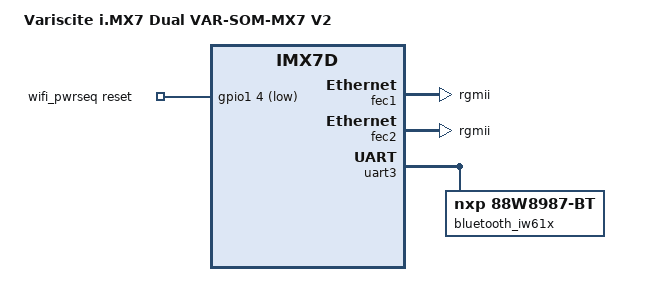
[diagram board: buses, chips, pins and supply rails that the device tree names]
// SPDX-License-Identifier: (GPL-2.0+ OR MIT)
/*
 * dtsi for Variscite VAR-SOM-MX7 V2
 *
 * Changelog link: https://dev.variscite.com/var-som-mx7/changelog/#var-som-mx7_v2-v20
 *
 * Copyright (C) 2026 Variscite Ltd. - https://www.variscite.com/
 *
 */

/ {
	model = "Variscite i.MX7 Dual VAR-SOM-MX7 V2";
	compatible = "variscite,var-som-imx7d-v2", "fsl,imx7d";

	wifi_pwrseq: wifi-pwrseq {
		compatible = "mmc-pwrseq-simple";
		post-power-on-delay-ms = <100>;
		power-off-delay-us = <10000>;
		reset-gpios = <&gpio1 4 GPIO_ACTIVE_LOW>;
	};
};

&fec1 {
	/*
	 * The required RGMII TX and RX 2ns delays are implemented directly
	 * in hardware via passive delay elements on the SOM PCB.
	 * No delay configuration is needed in software via PHY driver.
	 */
	phy-mode = "rgmii";
};

&fec2 {
	/*
	 * The required RGMII TX and RX 2ns delays are implemented directly
	 * in hardware via passive delay elements on the SOM PCB.
	 * No delay configuration is needed in software via PHY driver.
	 */
	phy-mode = "rgmii";
};

&pinctrl_wlan {
	fsl,pins = <
		MX7D_PAD_LPSR_GPIO1_IO04__GPIO1_IO4	0x09
	>;
};

&pinctrl_wlan_sleep {
	fsl,pins = <
		MX7D_PAD_LPSR_GPIO1_IO04__GPIO1_IO4	0x10
	>;
};

/* BT */
&uart3 {
	bluetooth_iw61x: bluetooth {
		compatible = "nxp,88w8987-bt";
	};
};

/* WiFi */
&usdhc2 {
	/delete-property/ #address-cells;
	/delete-property/ #size-cells;
	mmc-pwrseq = <&wifi_pwrseq>;
	/delete-node/ wifi@1;
};
